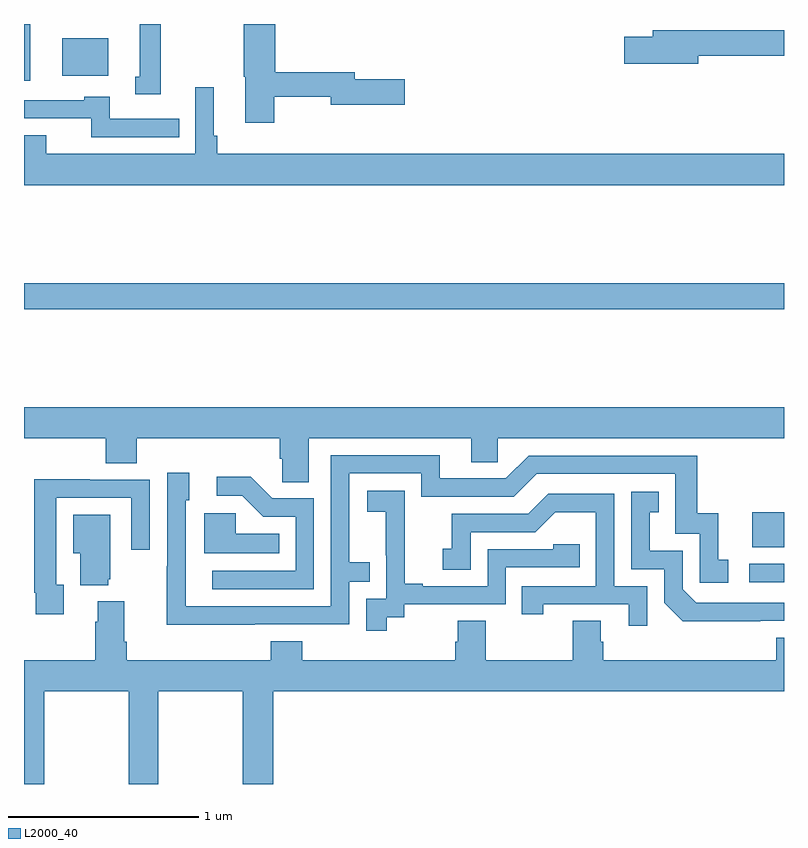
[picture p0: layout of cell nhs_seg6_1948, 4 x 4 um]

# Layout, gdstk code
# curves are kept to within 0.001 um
import gdstk
lib = gdstk.Library(unit=1e-6, precision=1e-09)
def R(c, l, rs):  # rectangles x0, y0, x1, y1
    for r in rs: c.add(gdstk.rectangle(r[:2], r[2:], *l))
def P(c, l, *ps):  # polygons
    for p in ps: c.add(gdstk.Polygon(p, *l))
L2000_40 = (2000, 40)

nhs_seg6_1948 = lib.new_cell('nhs_seg6_1948')
R(nhs_seg6_1948, L2000_40, [(230.817,962.562,231,962.658), (230.834,962.747,231,962.929), (227,964,231,964.136), (227,965.202,227.032,965.5), (227.201,965.228,227.443,965.425)])
P(nhs_seg6_1948, L2000_40, [(228.318,965.118),(228.614,965.118),(228.614,965.075),(229.003,965.075),(229.003,965.21),(228.742,965.21),(228.742,965.246),(228.323,965.246),(228.323,965.5),(228.157,965.5),(228.157,965.223),(228.164,965.223),(228.164,964.98),(228.318,964.98)],
  [(227.719,965.5),(227.609,965.5),(227.609,965.223),(227.585,965.223),(227.585,965.129),(227.719,965.129)],
  [(230.548,965.332),(231,965.332),(231,965.468),(230.309,965.468),(230.309,965.432),(230.16,965.432),(230.16,965.29),(230.548,965.29)],
  [(231,964.816),(228.017,964.816),(228.017,964.912),(227.998,964.912),(227.998,965.167),(227.901,965.167),(227.901,964.816),(227.116,964.816),(227.116,964.915),(227,964.915),(227,964.652),(231,964.652)],
  [(227.816,965.001),(227.452,965.001),(227.452,965.116),(227.316,965.116),(227.316,965.1),(227,965.1),(227,965.004),(227.353,965.004),(227.353,964.905),(227.816,964.905)],
  [(228.499,963.32),(229.355,963.32),(229.355,963.193),(229.494,963.193),(229.494,963.32),(231,963.32),(231,963.484),(227,963.484),(227,963.32),(227.429,963.32),(227.429,963.187),(227.594,963.187),(227.594,963.32),(228.347,963.32),(228.347,963.211),(228.36,963.211),(228.36,963.088),(228.499,963.088)],
  [(228.215,962.34),(228.711,962.34),(228.711,962.565),(228.821,962.565),(228.821,962.666),(228.711,962.666),(228.711,963.135),(229.092,963.135),(229.092,963.012),(229.578,963.012),(229.698,963.132),(230.427,963.132),(230.427,962.817),(230.556,962.817),(230.556,962.559),(230.707,962.559),(230.707,962.679),(230.654,962.679),(230.654,962.926),(230.543,962.926),(230.543,963.228),(229.656,963.228),(229.536,963.108),(229.189,963.108),(229.189,963.231),(228.615,963.231),(228.615,962.436),(227.851,962.436),(227.85,962.994),(227.869,962.994),(227.869,963.139),(227.754,963.139),(227.754,962.645),(227.752,962.645),(227.752,962.339)],
  [(228.525,963.003),(228.306,963.003),(228.193,963.116),(228.015,963.116),(228.015,963.018),(228.149,963.018),(228.26,962.907),(228.429,962.907),(228.429,962.622),(227.991,962.622),(227.991,962.526),(228.525,962.526)],
  [(227.209,962.55),(227.169,962.55),(227.169,963.006),(227.565,963.006),(227.565,962.733),(227.661,962.733),(227.661,963.102),(227.345,963.102),(227.345,963.104),(227.053,963.104),(227.053,962.506),(227.061,962.506),(227.061,962.394),(227.209,962.394)],
  [(228.91,962.377),(229.002,962.377),(229.002,962.445),(229.536,962.445),(229.536,962.64),(229.925,962.64),(229.925,962.763),(229.785,962.763),(229.785,962.736),(229.44,962.736),(229.44,962.541),(229.099,962.541),(229.099,962.554),(229.004,962.554),(229.004,962.837),(229.005,962.837),(229.005,963.043),(228.807,963.043),(228.807,962.933),(228.905,962.933),(228.905,962.705),(228.906,962.705),(228.906,962.475),(228.801,962.475),(228.801,962.307),(228.91,962.307)],
  [(230.876,962.358),(231,962.358),(231,962.454),(230.538,962.454),(230.466,962.526),(230.466,962.727),(230.293,962.727),(230.293,962.931),(230.342,962.931),(230.342,963.037),(230.196,963.037),(230.196,962.631),(230.37,962.631),(230.37,962.454),(230.468,962.357)],
  [(230.28,962.541),(230.106,962.541),(230.106,963.027),(229.76,963.027),(229.655,962.922),(229.252,962.922),(229.252,962.737),(229.203,962.737),(229.203,962.628),(229.35,962.628),(229.35,962.826),(229.692,962.826),(229.796,962.93),(230.01,962.93),(230.01,962.541),(229.621,962.541),(229.621,962.394),(229.732,962.394),(229.732,962.445),(230.183,962.445),(230.183,962.334),(230.28,962.334)],
  [(228.344,962.818),(228.114,962.818),(228.114,962.926),(227.948,962.926),(227.948,962.714),(228.344,962.714)],
  [(227.444,962.577),(227.455,962.577),(227.455,962.917),(227.258,962.917),(227.258,962.714),(227.297,962.714),(227.297,962.546),(227.444,962.546)],
  [(228.311,961.988),(231,961.988),(231,962.269),(230.96,962.269),(230.96,962.152),(230.048,962.152),(230.048,962.25),(230.035,962.25),(230.035,962.36),(229.888,962.36),(229.888,962.152),(229.431,962.152),(229.431,962.36),(229.283,962.36),(229.283,962.25),(229.271,962.25),(229.271,962.152),(228.464,962.152),(228.464,962.251),(228.299,962.251),(228.299,962.152),(227.54,962.152),(227.54,962.248),(227.527,962.248),(227.527,962.461),(227.387,962.461),(227.387,962.354),(227.375,962.354),(227.375,962.152),(227,962.152),(227,961.5),(227.106,961.5),(227.106,961.988),(227.551,961.988),(227.551,961.5),(227.706,961.5),(227.706,961.988),(228.151,961.988),(228.151,961.5),(228.311,961.5)])

lib.write_gds('nhs_seg6_1948.gds')
